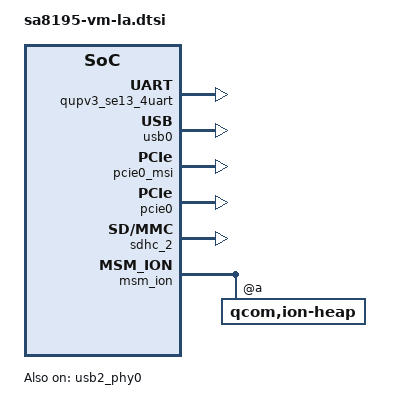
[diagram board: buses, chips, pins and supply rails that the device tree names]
/* Copyright (c) 2019-2020, The Linux Foundation. All rights reserved.
 *
 * This program is free software; you can redistribute it and/or modify
 * it under the terms of the GNU General Public License version 2 and
 * only version 2 as published by the Free Software Foundation.
 *
 * This program is distributed in the hope that it will be useful,
 * but WITHOUT ANY WARRANTY; without even the implied warranty of
 * MERCHANTABILITY or FITNESS FOR A PARTICULAR PURPOSE.  See the
 * GNU General Public License for more details.
 */

/ {
	reserved_memory: reserved-memory {

		pmem_shared: pmem_shared_region@a0000000 {
			reg = <0x0 0xa0000000 0x0 0x20000000>;
			label = "pmem_shared_mem";
		};

		secure_display_memory: secure_display_region {
			compatible = "shared-dma-pool";
			reusable;
			reg = <0x0 0xc0000000 0x0 0x14400000>;
		};
	};

};

&slpi_tlmm {
	status = "ok";
};

&apps_smmu {
	status = "ok";
};

&qupv3_se13_4uart {
	status = "ok";
};

&usb0 {
	status = "ok";
};

&usb2_phy0 {
	status = "ok";
};

&pcie0_msi {
	status = "ok";
};

&pcie0 {
	status = "ok";
};

&sdhc_2 {
	status = "ok";
};

&msm_ion {
	qcom,ion-heap@10 {
		reg = <10>;
		memory-region = <&secure_display_memory>;
		qcom,ion-heap-type = "HYP_CMA";
	};
};
